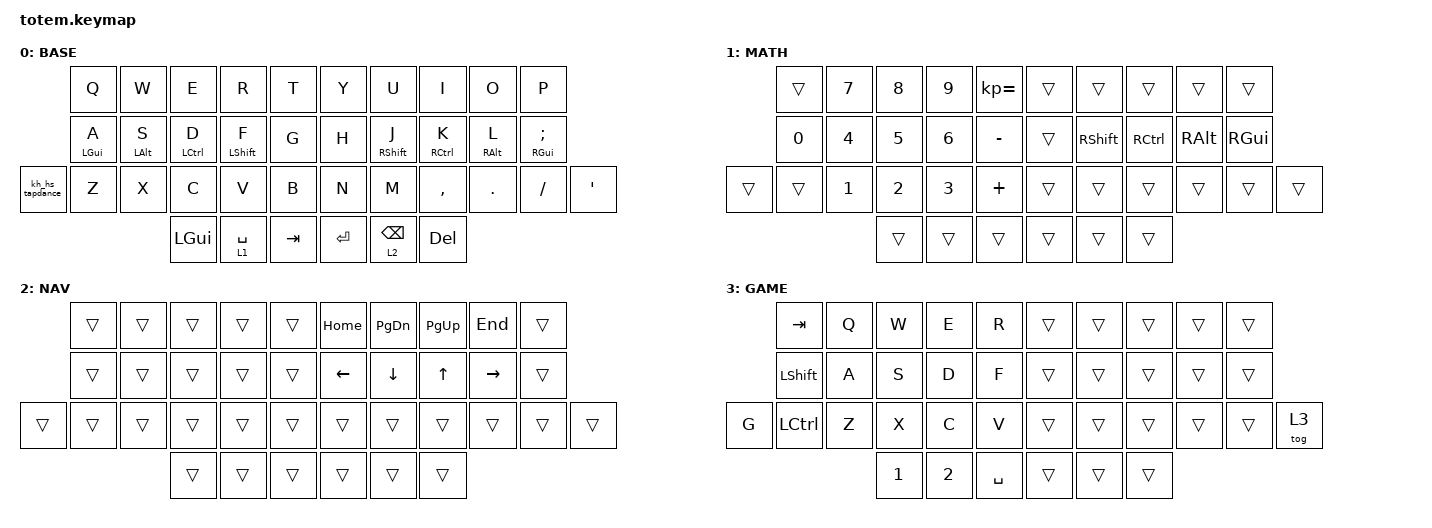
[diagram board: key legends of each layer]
//
//                                                        ▀▀▀▀▀     ▀▀▀▀▀          ▀▀█▀▀
//                                                        ▄▀▀▀▄  ▄  ▄▀▀▀▄  ▄  ▄▀▀▀▄  █  ▄▀▀▀▄
//                                                        █   █  █  █   █  █  █   █  █  █   █
//                                                         ▀▀▀   █   ▀▀▀   █   ▀▀▀   ▀   ▀▀▀
//                                                               █      ▄▄▄█▄▄▄    █   █  
//                                                               ▀      █  █  █     █▄█
//                                                             ▀▀▀▀▀    █  █  █      ▀
//                                                                      ▀  ▀  ▀
//
// ▄▄▄▄▄▄▄▄▄▄▄▄▄▄▄▄▄▄▄▄▄▄▄▄▄▄▄▄▄▄▄▄▄▄▄▄▄▄▄▄▄▄▄▄▄▄▄▄▄▄▄▄▄▄▄▄▄▄▄▄▄▄▄▄▄▄▄▄▄▄▄▄▄▄▄▄▄▄▄▄▄▄▄▄▄▄▄▄▄▄▄▄▄▄▄▄▄▄▄▄▄▄▄▄▄▄▄▄▄▄▄▄▄▄▄▄▄▄▄▄▄▄▄▄▄▄▄▄▄▄▄▄▄▄▄▄▄▄▄▄▄▄▄▄▄▄▄▄▄

#define BASE 0
#define MATH 1
#define SYMB 2
#define ADJU  3

#include <behaviors.dtsi>
#include <dt-bindings/zmk/keys.h>

/ {
    combos {
        compatible = "zmk,combos";

        combo_esc {
            timeout-ms = <50>;
            key-positions = <0 1>;
            bindings = <&kp ESC>;
        };

        combo_tab {
            bindings = <&kp TAB>;
            key-positions = <9 8>;
        };
    };

    behaviors {
        kh_hs_tapdance: kh_hs_tapdance {
            compatible = "zmk,behavior-tap-dance";
            label = "KH_HS_TAPDANCE";
            #binding-cells = <0>;
            tapping-term-ms = <200>;
            bindings = <&kp LEFT_BRACKET>, <&kp RIGHT_BRACKET>;
        };

        hrm: hrm {
            compatible = "zmk,behavior-hold-tap";
            #binding-cells = <2>;
            flavor = "tap-preferred";
            tapping-term-ms = <200>;
            quick-tap-ms = <200>;
            require-prior-idle-ms = <125>;
            bindings = <&kp>, <&kp>;
        };
    };

    keymap {
        compatible = "zmk,keymap";

        base {
            label = "BASE";
            bindings = <
                 &kp Q        &kp W        &kp E         &kp R         &kp T      &kp Y      &kp U            &kp I         &kp O        &kp P
                 &hrm LGUI A  &hrm LALT S  &hrm LCTRL D  &hrm LSHFT F  &kp G      &kp H      &hrm RSHFT J     &hrm RCTRL K  &hrm RALT L  &hrm RGUI SEMICOLON
&kh_hs_tapdance  &kp Z        &kp X        &kp C         &kp V         &kp B      &kp N      &kp M            &kp COMMA     &kp DOT      &kp FSLH             &kp APOS
                                           &kp LEFT_GUI  &lt 1 SPACE   &kp TAB    &kp ENTER  &lt 2 BACKSPACE  &kp DELETE
            >;
        };

        math {
            bindings = <
        &trans  &kp N7  &kp N8  &kp N9  &kp KP_EQUAL    &trans  &trans     &trans     &trans    &trans
        &kp N0  &kp N4  &kp N5  &kp N6  &kp MINUS       &trans  &kp RSHFT  &kp RCTRL  &kp RALT  &kp RGUI
&trans  &trans  &kp N1  &kp N2  &kp N3  &kp PLUS        &trans  &trans     &trans     &trans    &trans    &trans
                        &trans  &trans  &trans          &trans  &trans     &trans
            >;

            label = "MATH";
        };

        navigation {
            bindings = <
        &trans  &trans  &trans  &trans  &trans    &kp HOME  &kp PAGE_DOWN   &kp PG_UP     &kp END    &trans
        &trans  &trans  &trans  &trans  &trans    &kp LEFT  &kp DOWN_ARROW  &kp UP_ARROW  &kp RIGHT  &trans
&trans  &trans  &trans  &trans  &trans  &trans    &trans    &trans          &trans        &trans     &trans  &trans
                        &trans  &trans  &trans    &trans    &trans          &trans
            >;

            label = "NAV";
        };

        shoot {
            bindings = <
       &kp TAB    &kp Q  &kp W   &kp E   &kp R        &trans  &trans  &trans  &trans  &trans
       &kp LSHFT  &kp A  &kp S   &kp D   &kp F        &trans  &trans  &trans  &trans  &trans
&kp G  &kp LCTRL  &kp Z  &kp X   &kp C   &kp V        &trans  &trans  &trans  &trans  &trans  &tog 3
                         &kp N1  &kp N2  &kp SPACE    &trans  &trans  &trans
            >;

            label = "GAME";
        };
    };
};
